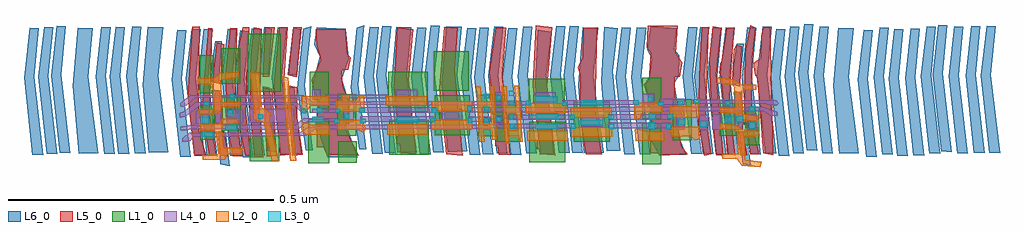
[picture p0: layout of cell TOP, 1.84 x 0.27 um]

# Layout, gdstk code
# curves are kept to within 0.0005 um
import gdstk
lib = gdstk.Library(unit=1e-6, precision=1e-09)
def R(c, l, rs):  # rectangles x0, y0, x1, y1
    for r in rs: c.add(gdstk.rectangle(r[:2], r[2:], *l))
def P(c, l, *ps):  # polygons
    for p in ps: c.add(gdstk.Polygon(p, *l))
L1_0 = (1, 0)
L2_0 = (2, 0)
L3_0 = (3, 0)
L4_0 = (4, 0)
L5_0 = (5, 0)
L6_0 = (6, 0)

top = lib.new_cell('TOP')
R(top, L1_0, [(1.242,-0.267,1.278,-0.19), (0.613,-0.265,0.652,-0.182), (0.669,-0.264,0.704,-0.224), (1.029,-0.263,1.097,-0.187), (0.502,-0.261,0.558,-0.213), (0.765,-0.249,0.84,-0.183), (1.435,-0.231,1.462,-0.16), (1.113,-0.225,1.181,-0.149), (1.299,-0.222,1.335,-0.145), (0.409,-0.221,0.436,-0.15), (0.667,-0.213,0.703,-0.135), (1.388,-0.213,1.424,-0.146), (0.851,-0.212,0.917,-0.137), (0.449,-0.204,0.485,-0.138), (1.028,-0.182,1.096,-0.106), (1.242,-0.181,1.278,-0.104), (0.615,-0.17,0.651,-0.093), (0.763,-0.168,0.838,-0.093), (0.408,-0.133,0.435,-0.062), (0.499,-0.13,0.561,-0.021), (0.849,-0.129,0.915,-0.054), (0.449,-0.115,0.484,-0.048)])
P(top, L1_0, [(0.968,-0.225),(0.968,-0.214),(0.933,-0.214),(0.933,-0.182),(0.962,-0.18),(0.961,-0.171),(0.932,-0.17),(0.931,-0.136),(0.984,-0.136),(0.985,-0.147),(1.015,-0.147),(1.015,-0.183),(0.982,-0.181),(0.982,-0.191),(1.015,-0.191),(1.013,-0.225)])
R(top, L2_0, [(1.025,-0.223,1.102,-0.204), (1.108,-0.215,1.185,-0.197), (0.985,-0.214,1.012,-0.203), (0.761,-0.211,0.838,-0.192), (0.844,-0.202,0.922,-0.183), (0.938,-0.202,0.961,-0.191), (0.517,-0.18,0.532,-0.169), (1.107,-0.179,1.184,-0.161), (0.985,-0.172,1.007,-0.159), (1.022,-0.171,1.099,-0.152), (0.845,-0.167,0.922,-0.148), (0.938,-0.16,0.959,-0.148), (0.759,-0.157,0.836,-0.139), (0.676,-0.146,0.691,-0.136)])
P(top, L2_0, [(0.407,-0.173),(0.405,-0.163),(0.435,-0.162),(0.432,-0.116),(0.404,-0.117),(0.404,-0.105),(0.435,-0.105),(0.446,-0.095),(0.482,-0.093),(0.481,-0.104),(0.448,-0.109),(0.451,-0.149),(0.484,-0.15),(0.484,-0.159),(0.45,-0.16),(0.448,-0.168),(0.438,-0.173)],
  [(0.414,-0.259),(0.414,-0.25),(0.443,-0.247),(0.438,-0.205),(0.409,-0.204),(0.408,-0.191),(0.446,-0.19),(0.45,-0.181),(0.48,-0.181),(0.481,-0.19),(0.453,-0.193),(0.45,-0.202),(0.453,-0.235),(0.489,-0.237),(0.487,-0.248),(0.461,-0.249),(0.455,-0.259)],
  [(0.579,-0.26),(0.569,-0.177),(0.565,-0.1),(0.575,-0.104),(0.59,-0.26)],
  [(0.544,-0.26),(0.529,-0.189),(0.509,-0.183),(0.51,-0.159),(0.503,-0.094),(0.52,-0.095),(0.525,-0.16),(0.542,-0.17),(0.54,-0.184),(0.557,-0.26)],
  [(0.599,-0.17),(0.6,-0.139),(0.65,-0.138),(0.653,-0.157),(0.616,-0.157),(0.61,-0.17)],
  [(0.664,-0.169),(0.664,-0.147),(0.702,-0.147),(0.708,-0.137),(0.718,-0.138),(0.718,-0.168)],
  [(1.294,-0.18),(1.294,-0.158),(1.332,-0.158),(1.338,-0.148),(1.348,-0.15),(1.348,-0.179)],
  [(1.227,-0.182),(1.227,-0.151),(1.278,-0.15),(1.281,-0.169),(1.243,-0.169),(1.237,-0.182)],
  [(0.935,-0.226),(0.929,-0.119),(0.938,-0.121),(0.944,-0.215),(0.945,-0.225)],
  [(0.959,-0.221),(0.954,-0.12),(0.963,-0.12),(0.968,-0.221)],
  [(0.984,-0.228),(0.977,-0.12),(0.987,-0.12),(0.992,-0.228)],
  [(1.01,-0.226),(1.001,-0.119),(1.009,-0.119),(1.017,-0.225)],
  [(1.459,-0.187),(1.424,-0.184),(1.416,-0.172),(1.388,-0.17),(1.387,-0.161),(1.417,-0.16),(1.415,-0.121),(1.409,-0.117),(1.383,-0.115),(1.383,-0.103),(1.414,-0.107),(1.43,-0.117),(1.457,-0.117),(1.457,-0.127),(1.43,-0.128),(1.431,-0.172),(1.461,-0.176)],
  [(1.464,-0.273),(1.429,-0.27),(1.421,-0.258),(1.393,-0.257),(1.392,-0.248),(1.422,-0.246),(1.42,-0.207),(1.415,-0.203),(1.388,-0.201),(1.388,-0.189),(1.419,-0.194),(1.435,-0.203),(1.462,-0.204),(1.463,-0.214),(1.435,-0.214),(1.436,-0.259),(1.467,-0.262)],
  [(0.61,-0.212),(0.599,-0.202),(0.6,-0.189),(0.612,-0.189),(0.619,-0.193),(0.651,-0.193),(0.654,-0.211)],
  [(0.717,-0.208),(0.706,-0.202),(0.667,-0.202),(0.667,-0.183),(0.713,-0.183),(0.722,-0.199)],
  [(1.23,-0.224),(1.228,-0.201),(1.238,-0.201),(1.248,-0.204),(1.282,-0.206),(1.284,-0.223)],
  [(1.341,-0.222),(1.333,-0.214),(1.298,-0.216),(1.292,-0.196),(1.348,-0.195),(1.35,-0.22)])
R(top, L3_0, [(0.412,-0.215,0.434,-0.205), (0.456,-0.203,0.478,-0.193), (1.04,-0.201,1.083,-0.191), (1.179,-0.201,1.189,-0.192), (1.253,-0.201,1.266,-0.188), (1.287,-0.201,1.297,-0.192), (0.992,-0.2,1.002,-0.191), (1.107,-0.2,1.117,-0.191), (1.443,-0.2,1.456,-0.188), (1.35,-0.197,1.363,-0.185), (1.125,-0.194,1.168,-0.183), (1.31,-0.194,1.323,-0.181), (0.412,-0.191,0.426,-0.178), (0.662,-0.19,0.672,-0.181), (0.711,-0.19,0.721,-0.181), (0.778,-0.189,0.821,-0.178), (0.913,-0.189,0.922,-0.18), (1.397,-0.189,1.41,-0.177), (0.62,-0.188,0.642,-0.178), (0.842,-0.188,0.852,-0.179), (0.943,-0.188,0.953,-0.179), (1.419,-0.188,1.432,-0.176), (0.967,-0.187,0.976,-0.178), (0.99,-0.183,1,-0.174), (1.041,-0.183,1.084,-0.172), (1.254,-0.183,1.267,-0.171), (1.105,-0.182,1.115,-0.174), (1.178,-0.182,1.188,-0.174), (0.518,-0.181,0.528,-0.173), (0.68,-0.181,0.69,-0.172), (1.289,-0.181,1.299,-0.173), (0.461,-0.173,0.47,-0.164), (0.599,-0.171,0.609,-0.162), (0.629,-0.17,0.639,-0.161), (0.663,-0.17,0.673,-0.162), (0.709,-0.17,0.719,-0.161), (0.846,-0.17,0.856,-0.161), (0.944,-0.168,0.954,-0.159), (0.912,-0.167,0.921,-0.158), (1.444,-0.167,1.454,-0.158), (0.416,-0.157,0.426,-0.148), (1.091,-0.157,1.1,-0.149), (1.126,-0.157,1.169,-0.146), (1.272,-0.157,1.282,-0.149), (0.991,-0.156,1.001,-0.147), (1.023,-0.156,1.032,-0.147), (1.309,-0.156,1.319,-0.147), (1.398,-0.156,1.408,-0.147), (1.225,-0.155,1.235,-0.146), (1.339,-0.153,1.349,-0.145), (1.039,-0.15,1.082,-0.139), (1.252,-0.149,1.262,-0.14), (0.967,-0.146,0.977,-0.137), (0.464,-0.144,0.474,-0.135), (0.944,-0.143,0.954,-0.134), (0.99,-0.138,1,-0.129)])
R(top, L4_0, [(1.349,-0.203,1.366,-0.174), (1.306,-0.202,1.322,-0.173), (1.374,-0.202,1.391,-0.173), (1.441,-0.202,1.458,-0.173), (1.416,-0.201,1.432,-0.172), (1.178,-0.199,1.296,-0.189), (1.126,-0.196,1.168,-0.174), (0.401,-0.191,0.425,-0.165), (0.437,-0.191,0.449,-0.166), (0.459,-0.19,0.49,-0.163), (0.501,-0.189,0.586,-0.162), (0.964,-0.189,0.978,-0.176), (0.679,-0.188,0.698,-0.163), (0.711,-0.187,0.849,-0.177), (0.914,-0.187,0.956,-0.178), (0.864,-0.184,0.903,-0.162), (0.994,-0.183,1.113,-0.174), (1.178,-0.183,1.296,-0.173), (0.62,-0.17,0.67,-0.162), (0.713,-0.17,0.853,-0.16), (1.091,-0.155,1.231,-0.146), (1.242,-0.155,1.265,-0.134), (1.275,-0.155,1.322,-0.144), (1.039,-0.153,1.079,-0.131), (0.62,-0.145,0.636,-0.126), (0.964,-0.144,0.979,-0.131), (0.646,-0.143,0.763,-0.136), (0.777,-0.143,0.818,-0.127)])
P(top, L4_0, [(0.372,-0.159),(0.371,-0.152),(0.391,-0.136),(0.604,-0.137),(0.62,-0.149),(0.731,-0.148),(0.983,-0.148),(1.025,-0.147),(1.028,-0.15),(1.027,-0.156),(0.614,-0.155),(0.59,-0.144),(0.401,-0.142),(0.38,-0.159)],
  [(1.483,-0.157),(1.474,-0.153),(1.337,-0.154),(1.337,-0.145),(1.494,-0.146),(1.499,-0.152),(1.496,-0.156)],
  [(1.496,-0.177),(1.484,-0.176),(1.471,-0.167),(0.915,-0.17),(0.914,-0.16),(1.466,-0.158),(1.496,-0.168)],
  [(0.37,-0.179),(0.37,-0.17),(0.379,-0.167),(0.402,-0.149),(0.59,-0.15),(0.606,-0.162),(0.604,-0.168),(0.599,-0.169),(0.586,-0.156),(0.411,-0.155),(0.381,-0.178)],
  [(0.371,-0.203),(0.371,-0.196),(0.395,-0.193),(0.588,-0.193),(0.605,-0.179),(0.667,-0.18),(0.669,-0.187),(0.609,-0.189),(0.592,-0.203),(0.389,-0.201),(0.386,-0.203)],
  [(0.375,-0.226),(0.375,-0.218),(0.389,-0.207),(0.596,-0.208),(0.612,-0.197),(0.655,-0.193),(0.897,-0.193),(1.114,-0.189),(1.114,-0.199),(0.625,-0.202),(0.609,-0.213),(0.396,-0.216),(0.39,-0.224)])
R(top, L5_0, [(1.257,-0.246,1.272,-0.217), (1.043,-0.239,1.073,-0.224), (0.629,-0.235,0.643,-0.205), (0.965,-0.233,0.988,-0.217), (0.779,-0.229,0.81,-0.214), (1.416,-0.203,1.43,-0.174), (1.307,-0.202,1.321,-0.173), (1.442,-0.202,1.456,-0.173), (1.348,-0.201,1.362,-0.172), (1.375,-0.201,1.39,-0.172), (1.127,-0.194,1.158,-0.18), (0.412,-0.192,0.426,-0.163), (0.435,-0.192,0.45,-0.162), (0.478,-0.191,0.492,-0.162), (0.573,-0.191,0.588,-0.162), (0.676,-0.191,0.69,-0.162), (0.962,-0.19,0.984,-0.174), (0.86,-0.184,0.89,-0.169), (1.252,-0.159,1.266,-0.13), (1.037,-0.151,1.068,-0.136), (0.96,-0.147,0.983,-0.131), (0.624,-0.146,0.639,-0.117), (0.776,-0.14,0.806,-0.125)])
P(top, L5_0, [(0.708,-0.251),(0.647,-0.249),(0.626,-0.197),(0.633,-0.144),(0.623,-0.129),(0.619,-0.109),(0.636,-0.07),(0.629,-0.043),(0.627,-0.013),(0.683,-0.013),(0.686,-0.059),(0.693,-0.066),(0.688,-0.089),(0.676,-0.091),(0.678,-0.12),(0.69,-0.148),(0.689,-0.171),(0.681,-0.197)],
  [(0.816,-0.248),(0.787,-0.246),(0.774,-0.124),(0.78,-0.009),(0.81,-0.013),(0.802,-0.107)],
  [(0.904,-0.251),(0.873,-0.248),(0.859,-0.125),(0.869,-0.008),(0.894,-0.01),(0.889,-0.089)],
  [(0.993,-0.25),(0.972,-0.249),(0.954,-0.095),(0.966,-0.01),(0.986,-0.01),(0.978,-0.1)],
  [(0.398,-0.251),(0.386,-0.139),(0.394,-0.008),(0.408,-0.007),(0.405,-0.199),(0.42,-0.25)],
  [(0.426,-0.25),(0.412,-0.166),(0.424,-0.01),(0.432,-0.011),(0.427,-0.173),(0.439,-0.25)],
  [(0.449,-0.116),(0.432,-0.113),(0.44,-0.037),(0.454,-0.041)],
  [(0.439,-0.19),(0.433,-0.169),(0.437,-0.129),(0.45,-0.129),(0.452,-0.19)],
  [(0.47,-0.252),(0.461,-0.201),(0.456,-0.099),(0.466,-0.01),(0.479,-0.011),(0.474,-0.156),(0.488,-0.252)],
  [(0.462,-0.253),(0.446,-0.251),(0.442,-0.205),(0.454,-0.205)],
  [(0.494,-0.251),(0.478,-0.173),(0.481,-0.049),(0.489,-0.009),(0.501,-0.009),(0.495,-0.172),(0.505,-0.251)],
  [(0.511,-0.254),(0.502,-0.167),(0.504,-0.064),(0.51,-0.009),(0.525,-0.012),(0.521,-0.184),(0.528,-0.254)],
  [(0.527,-0.102),(0.532,-0.009),(0.549,-0.009),(0.539,-0.102)],
  [(0.534,-0.253),(0.528,-0.123),(0.545,-0.125),(0.553,-0.251)],
  [(0.56,-0.251),(0.548,-0.119),(0.558,-0.009),(0.574,-0.009),(0.567,-0.107),(0.579,-0.249)],
  [(0.591,-0.103),(0.575,-0.099),(0.584,-0.009),(0.6,-0.009)],
  [(0.582,-0.251),(0.575,-0.159),(0.574,-0.118),(0.592,-0.122),(0.592,-0.179),(0.602,-0.249)],
  [(1.078,-0.25),(1.049,-0.248),(1.036,-0.118),(1.041,-0.005),(1.072,-0.009),(1.063,-0.119)],
  [(1.166,-0.249),(1.135,-0.248),(1.124,-0.174),(1.125,-0.098),(1.12,-0.084),(1.13,-0.066),(1.131,-0.01),(1.157,-0.009),(1.153,-0.165)],
  [(1.275,-0.251),(1.264,-0.233),(1.254,-0.221),(1.254,-0.202),(1.259,-0.194),(1.257,-0.142),(1.249,-0.131),(1.245,-0.116),(1.254,-0.11),(1.258,-0.057),(1.25,-0.047),(1.252,-0.006),(1.309,-0.006),(1.305,-0.057),(1.317,-0.076),(1.313,-0.102),(1.303,-0.102),(1.303,-0.14),(1.321,-0.165),(1.32,-0.179),(1.309,-0.194),(1.316,-0.234),(1.328,-0.248)],
  [(1.359,-0.251),(1.347,-0.19),(1.349,-0.1),(1.354,-0.009),(1.367,-0.008),(1.362,-0.177),(1.372,-0.248)],
  [(1.395,-0.251),(1.381,-0.25),(1.372,-0.164),(1.368,-0.069),(1.375,-0.007),(1.391,-0.01),(1.381,-0.097)],
  [(1.417,-0.25),(1.402,-0.249),(1.391,-0.101),(1.387,-0.096),(1.389,-0.078),(1.392,-0.071),(1.401,-0.01),(1.415,-0.009),(1.406,-0.153)],
  [(1.427,-0.116),(1.411,-0.115),(1.414,-0.051),(1.419,-0.042),(1.429,-0.045)],
  [(1.421,-0.189),(1.415,-0.181),(1.413,-0.168),(1.415,-0.159),(1.416,-0.129),(1.427,-0.131),(1.432,-0.189)],
  [(1.427,-0.25),(1.42,-0.204),(1.432,-0.205),(1.44,-0.25)],
  [(1.445,-0.248),(1.434,-0.171),(1.436,-0.055),(1.445,-0.005),(1.456,-0.01),(1.449,-0.066),(1.448,-0.156),(1.456,-0.163),(1.457,-0.183),(1.448,-0.188),(1.462,-0.248)],
  [(1.489,-0.25),(1.47,-0.246),(1.459,-0.103),(1.455,-0.1),(1.452,-0.082),(1.452,-0.076),(1.465,-0.067),(1.466,-0.026),(1.47,-0.009),(1.483,-0.009)])
P(top, L6_0, [(0.706,-0.255),(0.649,-0.254),(0.636,-0.219),(0.629,-0.179),(0.63,-0.143),(0.62,-0.121),(0.634,-0.064),(0.624,-0.041),(0.629,-0.009),(0.683,-0.012),(0.689,-0.069),(0.676,-0.106),(0.691,-0.156),(0.684,-0.194)],
  [(0.592,-0.099),(0.574,-0.098),(0.584,-0.009),(0.598,-0.013)],
  [(0.753,-0.248),(0.733,-0.247),(0.717,-0.102),(0.728,-0.008),(0.745,-0.009),(0.736,-0.1)],
  [(0.777,-0.246),(0.757,-0.245),(0.741,-0.1),(0.752,-0.006),(0.769,-0.007),(0.76,-0.098)],
  [(0.868,-0.245),(0.848,-0.244),(0.832,-0.099),(0.843,-0.005),(0.86,-0.006),(0.851,-0.097)],
  [(0.843,-0.249),(0.823,-0.248),(0.807,-0.103),(0.818,-0.009),(0.835,-0.01),(0.826,-0.101)],
  [(0.961,-0.249),(0.941,-0.248),(0.925,-0.103),(0.936,-0.009),(0.953,-0.01),(0.944,-0.101)],
  [(0.937,-0.25),(0.917,-0.249),(0.901,-0.104),(0.912,-0.01),(0.929,-0.011),(0.92,-0.102)],
  [(0.306,-0.247),(0.286,-0.246),(0.27,-0.101),(0.281,-0.007),(0.298,-0.008),(0.289,-0.099)],
  [(0.275,-0.248),(0.255,-0.247),(0.239,-0.102),(0.25,-0.008),(0.267,-0.009),(0.258,-0.1)],
  [(0.248,-0.248),(0.228,-0.247),(0.212,-0.102),(0.223,-0.008),(0.24,-0.009),(0.231,-0.1)],
  [(0.164,-0.246),(0.144,-0.245),(0.128,-0.1),(0.139,-0.006),(0.156,-0.007),(0.147,-0.098)],
  [(0.14,-0.248),(0.12,-0.247),(0.104,-0.102),(0.115,-0.008),(0.132,-0.009),(0.123,-0.1)],
  [(0.391,-0.254),(0.371,-0.253),(0.355,-0.108),(0.366,-0.014),(0.383,-0.015),(0.374,-0.106)],
  [(0.58,-0.249),(0.56,-0.248),(0.544,-0.103),(0.555,-0.009),(0.572,-0.01),(0.563,-0.101)],
  [(0.531,-0.251),(0.511,-0.25),(0.495,-0.105),(0.506,-0.011),(0.523,-0.012),(0.514,-0.103)],
  [(1.014,-0.25),(0.994,-0.249),(0.978,-0.104),(0.989,-0.01),(1.006,-0.011),(0.997,-0.102)],
  [(0.988,-0.247),(0.968,-0.246),(0.952,-0.101),(0.963,-0.007),(0.98,-0.008),(0.971,-0.099)],
  [(1.043,-0.247),(1.023,-0.246),(1.007,-0.101),(1.018,-0.007),(1.035,-0.008),(1.026,-0.099)],
  [(1.105,-0.246),(1.085,-0.245),(1.069,-0.1),(1.08,-0.006),(1.097,-0.007),(1.088,-0.098)],
  [(1.13,-0.246),(1.11,-0.245),(1.094,-0.1),(1.105,-0.006),(1.122,-0.007),(1.113,-0.098)],
  [(1.228,-0.249),(1.208,-0.248),(1.192,-0.103),(1.203,-0.009),(1.22,-0.01),(1.211,-0.101)],
  [(1.257,-0.249),(1.237,-0.248),(1.221,-0.103),(1.232,-0.009),(1.249,-0.01),(1.24,-0.101)],
  [(1.354,-0.248),(1.334,-0.247),(1.318,-0.102),(1.329,-0.008),(1.346,-0.009),(1.337,-0.1)],
  [(1.376,-0.248),(1.356,-0.247),(1.34,-0.102),(1.351,-0.008),(1.368,-0.009),(1.359,-0.1)],
  [(1.4,-0.249),(1.38,-0.248),(1.364,-0.103),(1.375,-0.009),(1.392,-0.01),(1.383,-0.101)],
  [(1.424,-0.249),(1.404,-0.248),(1.388,-0.103),(1.399,-0.009),(1.416,-0.01),(1.407,-0.101)],
  [(1.465,-0.249),(1.445,-0.248),(1.429,-0.103),(1.44,-0.009),(1.457,-0.01),(1.448,-0.101)],
  [(1.494,-0.247),(1.474,-0.246),(1.458,-0.101),(1.469,-0.007),(1.486,-0.008),(1.477,-0.099)],
  [(1.519,-0.252),(1.499,-0.251),(1.483,-0.106),(1.494,-0.012),(1.511,-0.013),(1.502,-0.104)],
  [(1.546,-0.247),(1.526,-0.246),(1.51,-0.101),(1.521,-0.007),(1.538,-0.008),(1.529,-0.099)],
  [(1.572,-0.242),(1.552,-0.241),(1.536,-0.096),(1.547,-0.002),(1.564,-0.003),(1.555,-0.094)],
  [(1.601,-0.247),(1.581,-0.246),(1.565,-0.101),(1.576,-0.007),(1.593,-0.008),(1.584,-0.099)],
  [(1.684,-0.254),(1.664,-0.253),(1.648,-0.108),(1.659,-0.014),(1.676,-0.015),(1.667,-0.106)],
  [(1.714,-0.249),(1.694,-0.248),(1.678,-0.103),(1.689,-0.009),(1.706,-0.01),(1.697,-0.101)],
  [(1.803,-0.247),(1.783,-0.246),(1.767,-0.101),(1.778,-0.007),(1.795,-0.008),(1.786,-0.099)],
  [(1.825,-0.244),(1.805,-0.243),(1.789,-0.098),(1.8,-0.004),(1.817,-0.005),(1.808,-0.096)],
  [(1.855,-0.247),(1.835,-0.246),(1.819,-0.101),(1.83,-0.007),(1.847,-0.008),(1.838,-0.099)],
  [(1.887,-0.246),(1.867,-0.245),(1.851,-0.1),(1.862,-0.006),(1.879,-0.007),(1.87,-0.098)],
  [(1.916,-0.246),(1.896,-0.245),(1.88,-0.1),(1.891,-0.006),(1.908,-0.007),(1.899,-0.098)],
  [(0.509,-0.255),(0.489,-0.254),(0.473,-0.109),(0.484,-0.015),(0.501,-0.016),(0.492,-0.107)],
  [(0.18,-0.247),(0.169,-0.119),(0.178,-0.01),(0.207,-0.011),(0.198,-0.102),(0.217,-0.246)],
  [(0.312,-0.245),(0.301,-0.117),(0.31,-0.008),(0.339,-0.009),(0.33,-0.1),(0.349,-0.244)],
  [(0.78,-0.245),(0.769,-0.117),(0.778,-0.008),(0.807,-0.009),(0.798,-0.1),(0.817,-0.244)],
  [(0.875,-0.244),(0.864,-0.116),(0.873,-0.007),(0.902,-0.008),(0.893,-0.099),(0.912,-0.243)],
  [(1.132,-0.246),(1.121,-0.118),(1.13,-0.009),(1.159,-0.01),(1.15,-0.101),(1.169,-0.245)],
  [(1.613,-0.247),(1.602,-0.119),(1.611,-0.01),(1.64,-0.011),(1.631,-0.102),(1.65,-0.246)],
  [(1.742,-0.252),(1.722,-0.251),(1.706,-0.106),(1.717,-0.012),(1.734,-0.013),(1.725,-0.104)],
  [(1.773,-0.251),(1.753,-0.25),(1.737,-0.105),(1.748,-0.011),(1.765,-0.012),(1.756,-0.103)],
  [(0.486,-0.252),(0.466,-0.251),(0.45,-0.106),(0.461,-0.012),(0.478,-0.013),(0.469,-0.104)],
  [(0.418,-0.252),(0.398,-0.251),(0.382,-0.106),(0.393,-0.012),(0.41,-0.013),(0.401,-0.104)],
  [(0.441,-0.252),(0.421,-0.251),(0.405,-0.106),(0.416,-0.012),(0.433,-0.013),(0.424,-0.104)],
  [(0.113,-0.25),(0.093,-0.249),(0.077,-0.104),(0.088,-0.01),(0.105,-0.011),(0.096,-0.102)],
  [(0.538,-0.098),(0.52,-0.097),(0.53,-0.008),(0.544,-0.012)],
  [(1.175,-0.243),(1.165,-0.111),(1.17,-0.008),(1.196,-0.011),(1.186,-0.092),(1.2,-0.242)],
  [(1.05,-0.249),(1.04,-0.117),(1.045,-0.014),(1.071,-0.017),(1.061,-0.098),(1.075,-0.248)],
  [(0.553,-0.245),(0.535,-0.242),(0.527,-0.12),(0.539,-0.122)],
  [(0.444,-0.115),(0.43,-0.112),(0.431,-0.08),(0.437,-0.035),(0.45,-0.035)],
  [(0.453,-0.193),(0.436,-0.188),(0.431,-0.128),(0.445,-0.128)],
  [(0.465,-0.271),(0.447,-0.267),(0.443,-0.207),(0.457,-0.207)],
  [(1.274,-0.25),(1.256,-0.218),(1.256,-0.151),(1.248,-0.115),(1.256,-0.1),(1.26,-0.068),(1.251,-0.051),(1.258,-0.007),(1.307,-0.011),(1.302,-0.05),(1.312,-0.062),(1.311,-0.101),(1.302,-0.114),(1.308,-0.149),(1.317,-0.174),(1.311,-0.191),(1.311,-0.215),(1.325,-0.249)],
  [(1.426,-0.121),(1.412,-0.117),(1.413,-0.085),(1.42,-0.04),(1.433,-0.04)],
  [(1.434,-0.193),(1.419,-0.191),(1.414,-0.13),(1.428,-0.13)],
  [(1.446,-0.269),(1.431,-0.267),(1.425,-0.206),(1.439,-0.206)],
  [(0.709,-0.239),(0.693,-0.122),(0.704,-0.01),(0.718,-0.005),(0.707,-0.116),(0.722,-0.239)],
  [(0.608,-0.241),(0.592,-0.124),(0.603,-0.012),(0.618,-0.007),(0.606,-0.118),(0.621,-0.241)],
  [(0.6,-0.248),(0.584,-0.247),(0.573,-0.16),(0.577,-0.121),(0.586,-0.122),(0.595,-0.206)])

lib.write_gds('TOP.gds')
